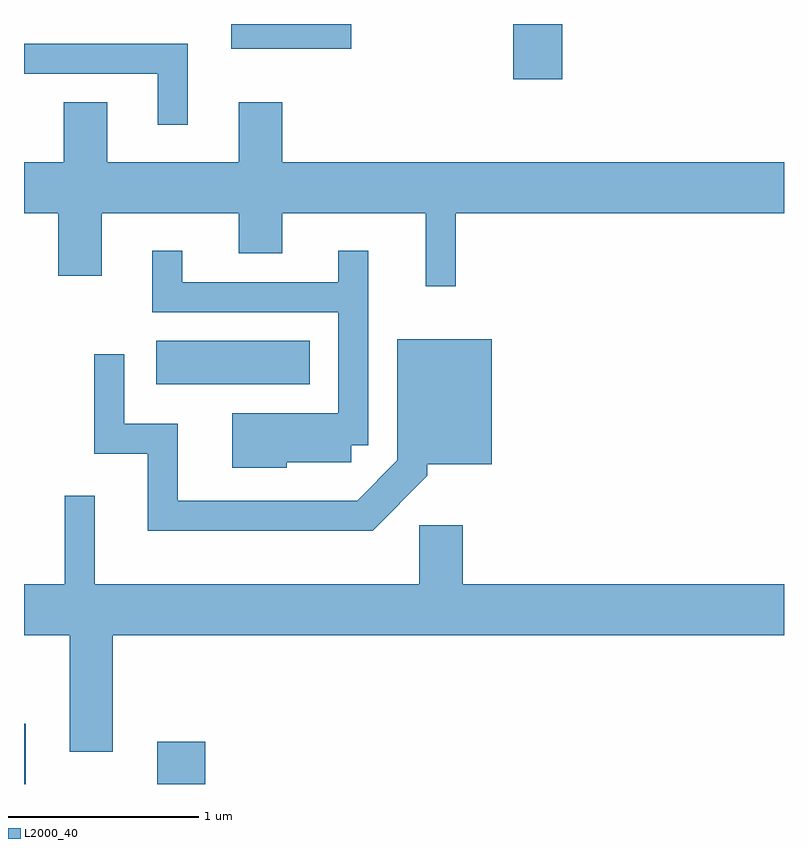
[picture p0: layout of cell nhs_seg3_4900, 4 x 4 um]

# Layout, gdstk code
import gdstk
lib = gdstk.Library(unit=1e-6, precision=1e-09)
def R(c, l, rs):  # rectangles x0, y0, x1, y1
    for r in rs: c.add(gdstk.rectangle(r[:2], r[2:], *l))
def P(c, l, *ps):  # polygons
    for p in ps: c.add(gdstk.Polygon(p, *l))
L2000_40 = (2000, 40)

nhs_seg3_4900 = lib.new_cell('nhs_seg3_4900')
R(nhs_seg3_4900, L2000_40, [(329.611,1131.892,329.619,1132.209), (330.311,1131.892,330.564,1132.114), (330.306,1133.996,331.114,1134.224), (332.186,1135.601,332.444,1135.892), (330.701,1135.761,331.334,1135.892)])
P(nhs_seg3_4900, L2000_40, [(330.474,1135.789),(329.611,1135.789),(329.611,1135.631),(330.316,1135.631),(330.316,1135.363),(330.474,1135.363)],
  [(331.884,1134.896),(333.611,1134.896),(333.611,1135.164),(330.969,1135.164),(330.969,1135.479),(330.741,1135.479),(330.741,1135.164),(330.049,1135.164),(330.049,1135.479),(329.821,1135.479),(329.821,1135.164),(329.611,1135.164),(329.611,1134.896),(329.791,1134.896),(329.791,1134.566),(330.019,1134.566),(330.019,1134.896),(330.741,1134.896),(330.741,1134.686),(330.969,1134.686),(330.969,1134.896),(331.726,1134.896),(331.726,1134.513),(331.884,1134.513)],
  [(330.994,1133.586),(331.334,1133.586),(331.334,1133.676),(331.424,1133.676),(331.424,1134.698),(331.266,1134.698),(331.266,1134.534),(330.444,1134.534),(330.444,1134.698),(330.286,1134.698),(330.286,1134.376),(331.266,1134.376),(331.266,1133.844),(330.706,1133.844),(330.706,1133.556),(330.994,1133.556)],
  [(331.734,1133.514),(331.734,1133.576),(332.074,1133.576),(332.074,1134.234),(331.576,1134.234),(331.576,1133.597),(331.364,1133.384),(330.419,1133.384),(330.419,1133.789),(330.139,1133.789),(330.139,1134.153),(329.981,1134.153),(329.981,1133.631),(330.261,1133.631),(330.261,1133.226),(331.447,1133.226)],
  [(330.079,1132.676),(333.611,1132.676),(333.611,1132.944),(331.919,1132.944),(331.919,1133.254),(331.691,1133.254),(331.691,1132.944),(329.984,1132.944),(329.984,1133.408),(329.826,1133.408),(329.826,1132.944),(329.611,1132.944),(329.611,1132.676),(329.851,1132.676),(329.851,1132.061),(330.079,1132.061)])

lib.write_gds('nhs_seg3_4900.gds')
